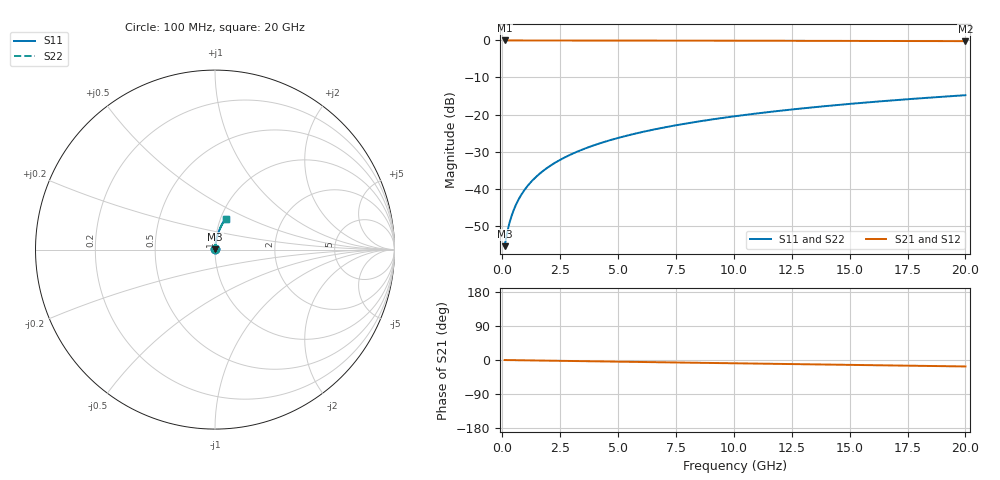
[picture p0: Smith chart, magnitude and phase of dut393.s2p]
! Touchstone file exported from HFSS 2026.1.0
!  File:  C:/ffzhzh/LocalFiles/Ansys_Project_Files/temp_train_BSMRDL_393_1783012208_4048.aedt
!  Generated:  01:11:36 AM Jul  3, 2026
!  Design:  BSMRDL
!  Project:  temp_train_BSMRDL_393_1783012208_4048
! Variables:
!  h_bsmrdl = 4.47um
!  h_ox = 20um
!  h_rdl = 5um
!  h_sub = 80um
!  h_tmrdl = 5um
!  h_tsv = 80um
!  h_via = 3um
!  l_bsmrdl = 214.87um
!  l_sub = 614.87um
!  l_tmrdl = 200um
!  m_sub = 200um
!  pitch = 38.8um
!  r_tsv = 6um
!  s_tmrdl = 10um
!  w_bsmrdl = 14.43um
!  w_sub = 500um
!  w_tmrdl = 12um
!  x_tsv_center1 = 206um
!  x_tsv_center2 = 435.3um
!  x_tsv_center3 = 647.3um
!  x_tsv_center4 = 876.6um
!  x_tsv_center5 = 1088.6um
!  x_tsv_center6 = 1317.9um
# GHz S MA R 50.000000
! Terminal data exported
! Port[1] = BSM_RDL1_1_T1
! Port[2] = BSM_RDL1_1_T2
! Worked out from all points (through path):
!   200 points, 100 MHz to 20 GHz, reference 50 ohm
!   highest |S21| = -0.01 dB at 100 MHz (marker M1); lowest = -0.2 dB at 20 GHz (marker M2)
!   group delay of S21, straight-line fit = 2.36 ps
!   lowest |S11| = -55.5 dB at 100 MHz (marker M3), VSWR 1.00, Z = 50.1 + j0.104 ohm
!   |S11| at or under -10 dB: start of sweep to end of sweep
!   |S22| runs from -55.5 to -14.8 dB; largest |S21 - S12| = 3e-15
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0.1  0.001673 38.3  0.9987 -0.1  0.9987 -0.1  0.001673 38.3
! Gamma 0 0 0 0
! Port Impedance 50 0 50 0
0.2  0.00246 56.5  0.9986 -0.2  0.9986 -0.2  0.00246 56.5
0.3  0.003354 65.2  0.9986 -0.3  0.9986 -0.3  0.003354 65.2
0.4  0.004277 70.1  0.9986 -0.4  0.9986 -0.4  0.004277 70.1
0.5  0.005214 73.3  0.9985 -0.5  0.9985 -0.5  0.005214 73.3
0.6  0.006158 75.5  0.9985 -0.5  0.9985 -0.5  0.006158 75.5
0.8  0.008064 78.4  0.9984 -0.7  0.9984 -0.7  0.008064 78.4
1.1  0.01095 80.8  0.9984 -1.0  0.9984 -1.0  0.01095 80.8
1.5  0.01481 82.3  0.9982 -1.3  0.9982 -1.3  0.01481 82.3
1.8  0.01771 82.9  0.9981 -1.6  0.9981 -1.6  0.01771 82.9
2.1  0.02062 83.2  0.998 -1.9  0.998 -1.9  0.02062 83.2
2.7  0.0264 83.5  0.9977 -2.4  0.9977 -2.4  0.0264 83.5
3.5  0.03407 83.3  0.9973 -3.1  0.9973 -3.1  0.03407 83.3
4.2  0.04074 83.0  0.9968 -3.7  0.9968 -3.7  0.04074 83.0
5  0.0483 82.5  0.9962 -4.4  0.9962 -4.4  0.0483 82.5
5.9  0.05673 81.9  0.9955 -5.2  0.9955 -5.2  0.05673 81.9
6.8  0.0651 81.3  0.9947 -5.9  0.9947 -5.9  0.0651 81.3
8.3  0.07892 80.2  0.9933 -7.2  0.9933 -7.2  0.07892 80.2
10.1  0.09532 78.8  0.9915 -8.8  0.9915 -8.8  0.09532 78.8
13.4  0.1249 76.3  0.9875 -11.5  0.9875 -11.5  0.1249 76.3
16.7  0.1539 73.8  0.9829 -14.3  0.9829 -14.3  0.1539 73.8
20  0.1821 71.2  0.9776 -17.0  0.9776 -17.0  0.1821 71.2
